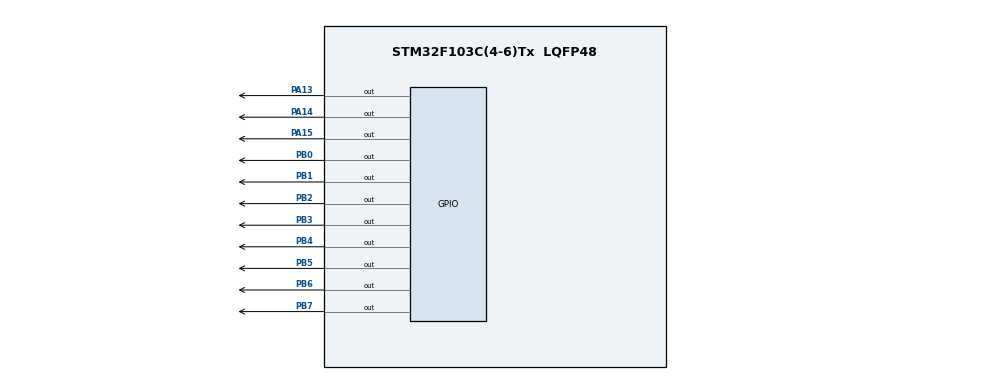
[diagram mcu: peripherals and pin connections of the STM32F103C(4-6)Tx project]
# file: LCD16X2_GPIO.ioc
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Mcu.Family=STM32F1
Mcu.Name=STM32F103C(4-6)Tx
Mcu.Package=LQFP48
NVIC.PriorityGroup=NVIC_PRIORITYGROUP_4
PA13.GPIO_PuPd=GPIO_PULLDOWN
PA13.Signal=GPIO_Output
PA14.GPIO_PuPd=GPIO_PULLDOWN
PA14.Signal=GPIO_Output
PA15.GPIO_PuPd=GPIO_PULLDOWN
PA15.Signal=GPIO_Output
PB0.GPIO_PuPd=GPIO_PULLDOWN
PB0.Signal=GPIO_Output
PB1.GPIO_PuPd=GPIO_PULLDOWN
PB1.Signal=GPIO_Output
PB2.GPIO_PuPd=GPIO_PULLDOWN
PB2.Signal=GPIO_Output
PB3.GPIO_PuPd=GPIO_PULLDOWN
PB3.Signal=GPIO_Output
PB4.GPIO_PuPd=GPIO_PULLDOWN
PB4.Signal=GPIO_Output
PB5.GPIO_PuPd=GPIO_PULLDOWN
PB5.Signal=GPIO_Output
PB6.GPIO_PuPd=GPIO_PULLDOWN
PB6.Signal=GPIO_Output
PB7.GPIO_PuPd=GPIO_PULLDOWN
PB7.Signal=GPIO_Output
ProjectManager.HeapSize=0x200
ProjectManager.StackSize=0x400
ProjectManager.TargetToolchain=STM32CubeIDE
RCC.APB1Freq_Value=8000000
RCC.APB2Freq_Value=8000000
VP_SYS_VS_ND.Mode=No_Debug
board=custom

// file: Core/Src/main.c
/* USER CODE BEGIN Header */
/**
  ******************************************************************************
  * @file           : main.c
  * @brief          : Main program body
  ******************************************************************************
  * @attention
  *
  * <h2><center>&copy; Copyright (c) 2020 STMicroelectronics.
  * All rights reserved.</center></h2>
  *
  * This software component is licensed by ST under BSD 3-Clause license,
  * the "License"; You may not use this file except in compliance with the
  * License. You may obtain a copy of the License at:
  *                        opensource.org/licenses/BSD-3-Clause
  *
  ******************************************************************************
  */
/* USER CODE END Header */

#include "main.h"

/* USER CODE BEGIN PD */
#define DATA	GPIOB

#define CTL		GPIOA
#define RS	GPIO_PIN_13
#define RW	GPIO_PIN_14
#define E	GPIO_PIN_15
/* USER CODE END PD */

void SystemClock_Config(void);
static void MX_GPIO_Init(void);
/* USER CODE BEGIN PFP */
void LCD_Putc(char value);
void LCD_Init();
void LCD_GotoXY(char x, char y);
/* USER CODE END PFP */

int main(void)
{

  /* MCU Configuration--------------------------------------------------------*/

  /* Reset of all peripherals, Initializes the Flash interface and the Systick. */
  HAL_Init();

  /* Configure the system clock */
  SystemClock_Config();

  /* Initialize all configured peripherals */
  MX_GPIO_Init();

  /* Infinite loop */
  /* USER CODE BEGIN WHILE */
  //SET LCD
  LCD_Init();
  LCD_Putc('A');
  LCD_GotoXY(2, 1);
  LCD_Putc('B');

  while (1)
  {
    /* USER CODE END WHILE */

  }
}

void SystemClock_Config(void)
{
  RCC_OscInitTypeDef RCC_OscInitStruct = {0};
  RCC_ClkInitTypeDef RCC_ClkInitStruct = {0};

  /** Initializes the CPU, AHB and APB busses clocks
  */
  RCC_OscInitStruct.OscillatorType = RCC_OSCILLATORTYPE_HSI;
  RCC_OscInitStruct.HSIState = RCC_HSI_ON;
  RCC_OscInitStruct.HSICalibrationValue = RCC_HSICALIBRATION_DEFAULT;
  RCC_OscInitStruct.PLL.PLLState = RCC_PLL_NONE;
  if (HAL_RCC_OscConfig(&RCC_OscInitStruct) != HAL_OK)
  {
    Error_Handler();
  }
  /** Initializes the CPU, AHB and APB busses clocks
  */
  RCC_ClkInitStruct.ClockType = RCC_CLOCKTYPE_HCLK|RCC_CLOCKTYPE_SYSCLK
                              |RCC_CLOCKTYPE_PCLK1|RCC_CLOCKTYPE_PCLK2;
  RCC_ClkInitStruct.SYSCLKSource = RCC_SYSCLKSOURCE_HSI;
  RCC_ClkInitStruct.AHBCLKDivider = RCC_SYSCLK_DIV1;
  RCC_ClkInitStruct.APB1CLKDivider = RCC_HCLK_DIV1;
  RCC_ClkInitStruct.APB2CLKDivider = RCC_HCLK_DIV1;

  if (HAL_RCC_ClockConfig(&RCC_ClkInitStruct, FLASH_LATENCY_0) != HAL_OK)
  {
    Error_Handler();
  }
}

static void MX_GPIO_Init(void)
{
  GPIO_InitTypeDef GPIO_InitStruct = {0};

  /* GPIO Ports Clock Enable */
  __HAL_RCC_GPIOB_CLK_ENABLE();
  __HAL_RCC_GPIOA_CLK_ENABLE();

  /*Configure GPIO pin Output Level */
  HAL_GPIO_WritePin(GPIOB, GPIO_PIN_0|GPIO_PIN_1|GPIO_PIN_2|GPIO_PIN_3
                          |GPIO_PIN_4|GPIO_PIN_5|GPIO_PIN_6|GPIO_PIN_7, GPIO_PIN_RESET);

  /*Configure GPIO pin Output Level */
  HAL_GPIO_WritePin(GPIOA, GPIO_PIN_13|GPIO_PIN_14|GPIO_PIN_15, GPIO_PIN_RESET);

  /*Configure GPIO pins : PB0 PB1 PB2 PB3
                           PB4 PB5 PB6 PB7 */
  GPIO_InitStruct.Pin = GPIO_PIN_0|GPIO_PIN_1|GPIO_PIN_2|GPIO_PIN_3
                          |GPIO_PIN_4|GPIO_PIN_5|GPIO_PIN_6|GPIO_PIN_7;
  GPIO_InitStruct.Mode = GPIO_MODE_OUTPUT_PP;
  GPIO_InitStruct.Pull = GPIO_PULLDOWN;
  GPIO_InitStruct.Speed = GPIO_SPEED_FREQ_LOW;
  HAL_GPIO_Init(GPIOB, &GPIO_InitStruct);

  /*Configure GPIO pins : PA13 PA14 PA15 */
  GPIO_InitStruct.Pin = GPIO_PIN_13|GPIO_PIN_14|GPIO_PIN_15;
  GPIO_InitStruct.Mode = GPIO_MODE_OUTPUT_PP;
  GPIO_InitStruct.Pull = GPIO_PULLDOWN;
  GPIO_InitStruct.Speed = GPIO_SPEED_FREQ_LOW;
  HAL_GPIO_Init(GPIOA, &GPIO_InitStruct);

}

/* USER CODE BEGIN 4 */
void LCD_Init()
{
	HAL_GPIO_WritePin(DATA, 0X38, GPIO_PIN_SET);
	HAL_GPIO_WritePin(CTL, RS, GPIO_PIN_RESET);
	HAL_GPIO_WritePin(CTL, E, GPIO_PIN_SET);
	HAL_Delay(330);
	HAL_GPIO_WritePin(CTL, E, GPIO_PIN_RESET);
	HAL_Delay(330);
	HAL_GPIO_WritePin(DATA, 0X38, GPIO_PIN_RESET);

	HAL_GPIO_WritePin(DATA, 0X0C, GPIO_PIN_SET);
	HAL_GPIO_WritePin(CTL, RS, GPIO_PIN_RESET);
	HAL_GPIO_WritePin(CTL, E, GPIO_PIN_SET);
	HAL_Delay(330);
	HAL_GPIO_WritePin(CTL, E, GPIO_PIN_RESET);
	HAL_Delay(330);
	HAL_GPIO_WritePin(DATA, 0X0C, GPIO_PIN_RESET);
}

void LCD_Putc(char value)
{
	HAL_GPIO_WritePin(DATA, value, GPIO_PIN_SET);
	HAL_GPIO_WritePin(CTL, RS, GPIO_PIN_SET);
	HAL_GPIO_WritePin(CTL, E, GPIO_PIN_SET);
	HAL_Delay(330);
	HAL_GPIO_WritePin(CTL, E, GPIO_PIN_RESET);
	HAL_Delay(330);
	HAL_GPIO_WritePin(DATA, value, GPIO_PIN_RESET);
}

void LCD_GotoXY(char x, char y)
{
	char Position = (y == 1)?(0x40 + x): x;
	HAL_GPIO_WritePin(DATA, Position|0x80, GPIO_PIN_SET);
	HAL_GPIO_WritePin(CTL, RS, GPIO_PIN_RESET);
	HAL_GPIO_WritePin(CTL, E, GPIO_PIN_SET);
	HAL_Delay(330);
	HAL_GPIO_WritePin(CTL, E, GPIO_PIN_RESET);
	HAL_Delay(330);
	HAL_GPIO_WritePin(DATA, Position|0x80, GPIO_PIN_RESET);

}

/* USER CODE END 4 */

void Error_Handler(void)
{
}

/************************ (C) COPYRIGHT STMicroelectronics *****END OF FILE****/
